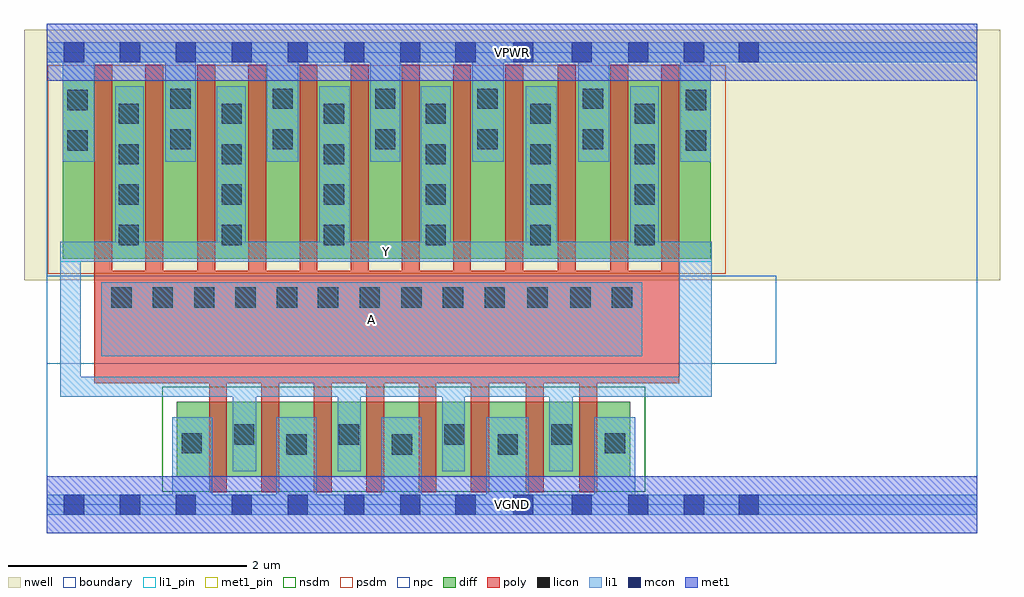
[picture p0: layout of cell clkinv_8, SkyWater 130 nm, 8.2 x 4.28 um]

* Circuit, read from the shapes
.subckt clkinv_8 A VGND VPWR Y
XM1 Y A VGND VSUBS sky130_fd_pr__nfet_01v8 w=0.63 l=0.15 m=7
XM2 VGND A Y VSUBS sky130_fd_pr__nfet_01v8 w=0.63 l=0.155
XM3 Y A VPWR n1 sky130_fd_pr__pfet_01v8 w=1.5 l=0.15 m=12
.ends

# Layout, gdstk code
import gdstk
lib = gdstk.Library(unit=1e-6, precision=1e-09)
def R(c, l, rs):  # rectangles x0, y0, x1, y1
    for r in rs: c.add(gdstk.rectangle(r[:2], r[2:], *l))
def A(c, l, x, y, w, h, nx, ny, dx, dy):  # array of equal rectangles
    R(c, l, [(x+i*dx, y+j*dy, x+i*dx+w, y+j*dy+h) for i in range(nx) for j in range(ny)])
nwell = (64, 20)
diff = (65, 20)
poly = (66, 20)
licon = (66, 44)
li1_pin = (67, 16)
li1 = (67, 20)
mcon = (67, 44)
met1_pin = (68, 16)
met1 = (68, 20)
nsdm = (93, 44)
psdm = (94, 20)
npc = (95, 20)
boundary = (235, 4)

clkinv_8 = lib.new_cell('clkinv_8')
R(clkinv_8, nwell, [(-0.19,1.885,8.01,3.99), (0,1.885,7.82,3.99)])
R(clkinv_8, diff, [(1.095,0.235,4.905,0.865), (0.135,2.065,5.58,3.565)])
A(clkinv_8, poly, 1.365, 0.105, 0.15, 1.86, 5, 1, 0.44, 0)
A(clkinv_8, poly, 1.265, 1.02, 0.15, 2.675, 6, 1, 0.43, 0)
A(clkinv_8, poly, 3.855, 1.02, 0.15, 2.675, 3, 1, 0.44, 0)
R(clkinv_8, poly, [(3.565,0.105,3.72,1.965), (4.025,0.105,4.175,1.965), (4.475,0.105,4.625,1.965), (0.4,1.02,5.315,1.965), (0.4,1.02,0.55,3.695), (0.83,1.02,0.98,3.695), (5.165,1.02,5.315,3.695)])
A(clkinv_8, licon, 2.28, 1.655, 0.17, 0.17, 5, 1, 0.35, 0)
A(clkinv_8, licon, 0.605, 2.18, 0.17, 0.17, 1, 4, 0, 0.34)
A(clkinv_8, licon, 1.47, 2.18, 0.17, 0.17, 1, 4, 0, 0.34)
A(clkinv_8, licon, 2.33, 2.18, 0.17, 0.17, 1, 4, 0, 0.34)
A(clkinv_8, licon, 3.185, 2.18, 0.17, 0.17, 1, 4, 0, 0.34)
A(clkinv_8, licon, 4.065, 2.18, 0.17, 0.17, 1, 4, 0, 0.34)
A(clkinv_8, licon, 4.94, 2.18, 0.17, 0.17, 1, 4, 0, 0.34)
A(clkinv_8, licon, 1.04, 2.985, 0.17, 0.17, 4, 2, 0.86, 0.34)
R(clkinv_8, licon, [(2.015,0.42,2.185,0.59), (2.9,0.42,3.07,0.59), (3.79,0.42,3.96,0.59), (1.135,0.43,1.305,0.6), (4.69,0.43,4.86,0.6), (1.575,0.505,1.745,0.675), (2.455,0.505,2.625,0.675), (3.34,0.505,3.51,0.675), (4.24,0.505,4.41,0.675), (0.545,1.655,0.715,1.825), (0.89,1.655,1.06,1.825), (1.24,1.655,1.41,1.825), (1.585,1.655,1.755,1.825), (1.935,1.655,2.105,1.825), (4.04,1.655,4.21,1.825), (4.4,1.655,4.57,1.825), (4.75,1.655,4.92,1.825), (0.175,2.975,0.345,3.145), (5.37,2.975,5.54,3.145), (4.505,2.985,4.675,3.155), (0.175,3.315,0.345,3.485), (5.37,3.315,5.54,3.485), (4.505,3.325,4.675,3.495)])
R(clkinv_8, li1_pin, [(0.46,1.245,5.005,1.87), (0.115,2.04,5.59,2.21)])
R(clkinv_8, li1, [(0,-0.085,7.82,0.085), (1.055,-0.085,1.39,0.735), (1.93,-0.085,2.27,0.735), (2.81,-0.085,3.15,0.735), (3.695,-0.085,4.05,0.735), (4.6,-0.085,4.945,0.735), (1.565,0.28,1.76,1.075), (2.445,0.28,2.64,1.075), (3.325,0.28,3.515,1.075), (4.225,0.28,4.42,1.075), (0.115,0.905,5.59,1.075), (0.115,0.905,0.285,2.21), (5.315,0.905,5.59,2.21), (0.46,1.245,5.005,1.87), (0.115,2.04,5.59,2.21), (0.575,2.04,0.815,3.515), (1.43,2.04,1.675,3.515), (2.29,2.04,2.545,3.515), (3.145,2.04,3.395,3.515), (4.025,2.04,4.285,3.515), (4.905,2.04,5.145,3.515), (0.135,2.88,0.4,3.885), (0.995,2.88,1.255,3.885), (1.85,2.88,2.115,3.885), (2.72,2.88,2.97,3.885), (3.575,2.88,3.84,3.885), (4.465,2.88,4.725,3.885), (5.325,2.88,5.58,3.885), (0,3.715,7.82,3.885)])
A(clkinv_8, mcon, 0.145, -0.085, 0.17, 0.17, 5, 2, 0.47, 3.8)
R(clkinv_8, mcon, [(2.5,-0.085,2.67,0.085), (2.97,-0.085,3.14,0.085), (3.435,-0.085,3.605,0.085), (3.92,-0.085,4.09,0.085), (4.41,-0.085,4.58,0.085), (4.885,-0.085,5.055,0.085), (5.355,-0.085,5.525,0.085), (5.815,-0.085,5.985,0.085), (2.5,3.715,2.67,3.885), (2.97,3.715,3.14,3.885), (3.435,3.715,3.605,3.885), (3.92,3.715,4.09,3.885), (4.41,3.715,4.58,3.885), (4.885,3.715,5.055,3.885), (5.355,3.715,5.525,3.885), (5.815,3.715,5.985,3.885)])
R(clkinv_8, met1_pin, [(0,-0.24,7.82,0.24), (0,3.56,7.82,4.04)])
R(clkinv_8, met1, [(0,-0.24,7.82,0.24), (0,3.56,7.82,4.04)])
R(clkinv_8, nsdm, [(0.97,0.11,5.03,0.99)])
R(clkinv_8, psdm, [(0.01,1.94,5.705,3.69)])
R(clkinv_8, npc, [(0,1.185,6.13,1.925)])
R(clkinv_8, boundary, [(0,0,7.82,3.8)])
clkinv_8.add(gdstk.Label('A', (2.732,1.557), layer=67, texttype=5))
clkinv_8.add(gdstk.Label('Y', (2.852,2.125), layer=67, texttype=5))
clkinv_8.add(gdstk.Label('VPWR', (3.91,3.8), layer=68, texttype=5))
clkinv_8.add(gdstk.Label('VGND', (3.91,0), layer=68, texttype=5))
clkinv_8.add(gdstk.Label('A', (2.732,1.557), layer=67, texttype=16))
clkinv_8.add(gdstk.Label('Y', (2.852,2.125), layer=67, texttype=16))
clkinv_8.add(gdstk.Label('VPWR', (3.91,3.8), layer=68, texttype=16))
clkinv_8.add(gdstk.Label('VGND', (3.91,0), layer=68, texttype=16))

lib.write_gds('clkinv_8.gds')
